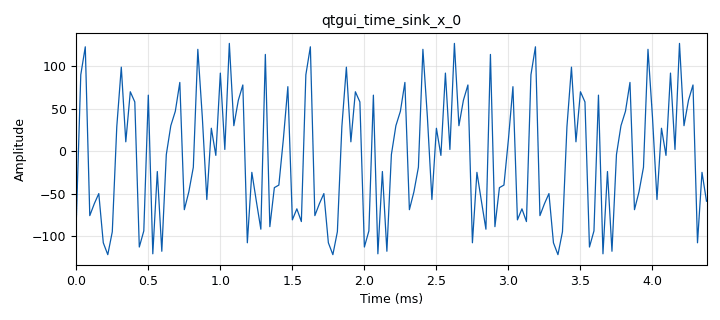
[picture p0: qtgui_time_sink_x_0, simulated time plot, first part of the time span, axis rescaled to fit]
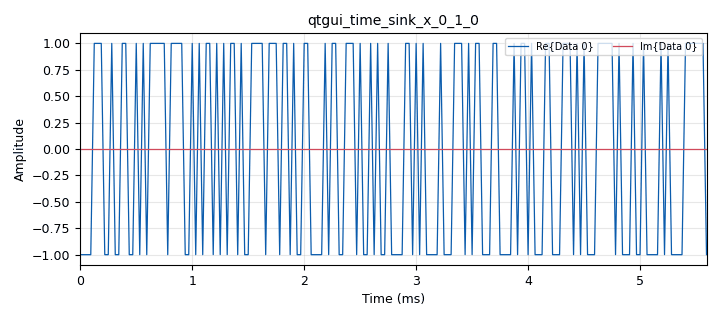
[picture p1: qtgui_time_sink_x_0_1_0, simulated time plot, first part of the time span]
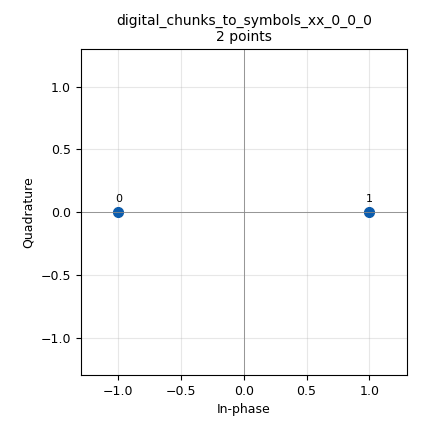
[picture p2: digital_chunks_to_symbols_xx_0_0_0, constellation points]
<?xml version='1.0' encoding='utf-8'?>
<?grc format='1' created='3.7.11'?>
<flow_graph>
<block>
<key>options</key>
<param><key>id</key><value>top_block</value></param>
<param><key>author</key><value>Aaron Scher</value></param>
<param><key>description</key><value>This example shows the basics of frame syncing. </value></param>
<param><key>generate_options</key><value>qt_gui</value></param>
<param><key>title</key><value>Frame Sync Example</value></param>
</block>
<block>
<key>variable</key>
<param><key>id</key><value>samp_rate</value></param>
<param><key>value</key><value>32000</value></param>
</block>
<block>
<key>analog_random_source_x</key>
<param><key>id</key><value>analog_random_source_x_0</value></param>
<param><key>max</key><value>256</value></param>
<param><key>min</key><value>0</value></param>
<param><key>num_samps</key><value>50</value></param>
<param><key>type</key><value>byte</value></param>
<param><key>repeat</key><value>True</value></param>
</block>
<block>
<key>blocks_char_to_float</key>
<param><key>id</key><value>blocks_char_to_float_0</value></param>
<param><key>scale</key><value>1</value></param>
</block>
<block>
<key>blocks_message_debug</key>
<param><key>id</key><value>blocks_message_debug_0</value></param>
<param><key>comment</key><value>Display the message that was sent.</value></param>
<param><key>_enabled</key><value>0</value></param>
</block>
<block>
<key>blocks_message_strobe</key>
<param><key>id</key><value>blocks_message_strobe_0_0</value></param>
<param><key>comment</key><value>Generate hello world message</value></param>
<param><key>_enabled</key><value>0</value></param>
<param><key>msg</key><value>pmt.cons(pmt.make_dict(), pmt.pmt_to_python.numpy_to_uvector(numpy.array([ord(c) for c in "Hello world!"], numpy.uint8)))</value></param>
<param><key>period</key><value>5000</value></param>
</block>
<block>
<key>blocks_pdu_to_tagged_stream</key>
<param><key>id</key><value>blocks_pdu_to_tagged_stream_1</value></param>
<param><key>_enabled</key><value>0</value></param>
<param><key>type</key><value>byte</value></param>
<param><key>tag</key><value>len_key</value></param>
</block>
<block>
<key>blocks_repack_bits_bb</key>
<param><key>id</key><value>blocks_repack_bits_bb_0_0</value></param>
<param><key>k</key><value>8</value></param>
<param><key>l</key><value>hdr_const.bits_per_symbol()</value></param>
<param><key>comment</key><value>Access code block up ahead needs 1 byte
per bit</value></param>
<param><key>endianness</key><value>gr.GR_MSB_FIRST</value></param>
<param><key>len_tag_key</key><value>len_key</value></param>
</block>
<block>
<key>blocks_repack_bits_bb</key>
<param><key>id</key><value>blocks_repack_bits_bb_0_0_0</value></param>
<param><key>k</key><value>1</value></param>
<param><key>l</key><value>8</value></param>
<param><key>comment</key><value>Tagged Stream to PDU block up ahead needs packed bytes</value></param>
<param><key>endianness</key><value>gr.GR_MSB_FIRST</value></param>
<param><key>len_tag_key</key><value>len_key2</value></param>
</block>
<block>
<key>blocks_stream_to_tagged_stream</key>
<param><key>id</key><value>blocks_stream_to_tagged_stream_0</value></param>
<param><key>len_tag_key</key><value>"len_key"</value></param>
<param><key>packet_len</key><value>8</value></param>
<param><key>type</key><value>byte</value></param>
</block>
<block>
<key>blocks_tag_gate</key>
<param><key>id</key><value>blocks_tag_gate_0_0</value></param>
<param><key>comment</key><value>Simulate the "channel'... removes tags</value></param>
<param><key>type</key><value>byte</value></param>
<param><key>propagate_tags</key><value>False</value></param>
</block>
<block>
<key>blocks_tagged_stream_mux</key>
<param><key>id</key><value>blocks_tagged_stream_mux_0</value></param>
<param><key>comment</key><value>Append header to payload</value></param>
<param><key>type</key><value>byte</value></param>
<param><key>lengthtagname</key><value>len_key</value></param>
<param><key>ninputs</key><value>2</value></param>
</block>
<block>
<key>blocks_tagged_stream_to_pdu</key>
<param><key>id</key><value>blocks_tagged_stream_to_pdu_0</value></param>
<param><key>_enabled</key><value>0</value></param>
<param><key>type</key><value>byte</value></param>
<param><key>tag</key><value>len_key2</value></param>
</block>
<block>
<key>blocks_throttle</key>
<param><key>id</key><value>blocks_throttle_0</value></param>
<param><key>comment</key><value>Slow things down :)</value></param>
<param><key>samples_per_second</key><value>samp_rate</value></param>
<param><key>type</key><value>byte</value></param>
</block>
<block>
<key>digital_chunks_to_symbols_xx</key>
<param><key>id</key><value>digital_chunks_to_symbols_xx_0_0_0</value></param>
<param><key>comment</key><value>To display in time domain we map individual 
bits to (complex) symbols</value></param>
<param><key>dimension</key><value>1</value></param>
<param><key>in_type</key><value>byte</value></param>
<param><key>out_type</key><value>complex</value></param>
<param><key>symbol_table</key><value>hdr_const.points()</value></param>
</block>
<block>
<key>digital_correlate_access_code_xx_ts</key>
<param><key>id</key><value>digital_correlate_access_code_xx_ts_1</value></param>
<param><key>access_code</key><value>digital.packet_utils.default_access_code</value></param>
<param><key>comment</key><value>Correlates with access code to extract the payload.</value></param>
<param><key>type</key><value>byte</value></param>
<param><key>tagname</key><value>len_key2</value></param>
<param><key>threshold</key><value>0</value></param>
</block>
<block>
<key>digital_protocol_formatter_bb</key>
<param><key>id</key><value>digital_protocol_formatter_bb_0</value></param>
<param><key>comment</key><value>Generate header</value></param>
<param><key>format</key><value>hdr_format</value></param>
<param><key>len_tag_key</key><value>len_key</value></param>
</block>
<block>
<key>parameter</key>
<param><key>id</key><value>hdr_const</value></param>
<param><key>label</key><value>Header constellation</value></param>
<param><key>value</key><value>digital.constellation_calcdist((digital.psk_2()[0]), (digital.psk_2()[1]), 2, 1).base()</value></param>
</block>
<block>
<key>parameter</key>
<param><key>id</key><value>hdr_format</value></param>
<param><key>label</key><value>Header Formatter</value></param>
<param><key>value</key><value>digital.header_format_default(digital.packet_utils.default_access_code, 0)</value></param>
</block>
<block>
<key>import</key>
<param><key>id</key><value>import_0</value></param>
<param><key>import</key><value>import numpy</value></param>
</block>
<block>
<key>qtgui_time_sink_x</key>
<param><key>id</key><value>qtgui_time_sink_x_0</value></param>
<param><key>color1</key><value>"blue"</value></param>
<param><key>label1</key><value></value></param>
<param><key>size</key><value>1024</value></param>
<param><key>srate</key><value>samp_rate</value></param>
<param><key>type</key><value>float</value></param>
</block>
<block>
<key>qtgui_time_sink_x</key>
<param><key>id</key><value>qtgui_time_sink_x_0_1_0</value></param>
<param><key>autoscale</key><value>True</value></param>
<param><key>comment</key><value>Display payloud in time domain</value></param>
<param><key>color1</key><value>"blue"</value></param>
<param><key>label1</key><value></value></param>
<param><key>color2</key><value>"red"</value></param>
<param><key>label2</key><value></value></param>
<param><key>size</key><value>1024</value></param>
<param><key>srate</key><value>samp_rate</value></param>
<param><key>type</key><value>complex</value></param>
</block>
<block>
<key>virtual_sink</key>
<param><key>id</key><value>virtual_sink_0</value></param>
<param><key>stream_id</key><value>input</value></param>
</block>
<block>
<key>virtual_sink</key>
<param><key>id</key><value>virtual_sink_1</value></param>
<param><key>stream_id</key><value>output</value></param>
</block>
<block>
<key>virtual_source</key>
<param><key>id</key><value>virtual_source_0</value></param>
<param><key>stream_id</key><value>input</value></param>
</block>
<block>
<key>virtual_source</key>
<param><key>id</key><value>virtual_source_1</value></param>
<param><key>stream_id</key><value>output</value></param>
</block>
<connection><source_block_id>analog_random_source_x_0</source_block_id><sink_block_id>blocks_stream_to_tagged_stream_0</sink_block_id><source_key>0</source_key><sink_key>0</sink_key></connection>
<connection><source_block_id>blocks_char_to_float_0</source_block_id><sink_block_id>qtgui_time_sink_x_0</sink_block_id><source_key>0</source_key><sink_key>0</sink_key></connection>
<connection><source_block_id>blocks_message_strobe_0_0</source_block_id><sink_block_id>blocks_pdu_to_tagged_stream_1</sink_block_id><source_key>strobe</source_key><sink_key>pdus</sink_key></connection>
<connection><source_block_id>blocks_pdu_to_tagged_stream_1</source_block_id><sink_block_id>blocks_tagged_stream_mux_0</sink_block_id><source_key>0</source_key><sink_key>1</sink_key></connection>
<connection><source_block_id>blocks_pdu_to_tagged_stream_1</source_block_id><sink_block_id>digital_protocol_formatter_bb_0</sink_block_id><source_key>0</source_key><sink_key>0</sink_key></connection>
<connection><source_block_id>blocks_repack_bits_bb_0_0</source_block_id><sink_block_id>blocks_tag_gate_0_0</sink_block_id><source_key>0</source_key><sink_key>0</sink_key></connection>
<connection><source_block_id>blocks_repack_bits_bb_0_0_0</source_block_id><sink_block_id>blocks_tagged_stream_to_pdu_0</sink_block_id><source_key>0</source_key><sink_key>0</sink_key></connection>
<connection><source_block_id>blocks_repack_bits_bb_0_0_0</source_block_id><sink_block_id>virtual_sink_1</sink_block_id><source_key>0</source_key><sink_key>0</sink_key></connection>
<connection><source_block_id>blocks_stream_to_tagged_stream_0</source_block_id><sink_block_id>virtual_sink_0</sink_block_id><source_key>0</source_key><sink_key>0</sink_key></connection>
<connection><source_block_id>blocks_tag_gate_0_0</source_block_id><sink_block_id>digital_correlate_access_code_xx_ts_1</sink_block_id><source_key>0</source_key><sink_key>0</sink_key></connection>
<connection><source_block_id>blocks_tagged_stream_mux_0</source_block_id><sink_block_id>blocks_throttle_0</sink_block_id><source_key>0</source_key><sink_key>0</sink_key></connection>
<connection><source_block_id>blocks_tagged_stream_to_pdu_0</source_block_id><sink_block_id>blocks_message_debug_0</sink_block_id><source_key>pdus</source_key><sink_key>print</sink_key></connection>
<connection><source_block_id>blocks_throttle_0</source_block_id><sink_block_id>blocks_repack_bits_bb_0_0</sink_block_id><source_key>0</source_key><sink_key>0</sink_key></connection>
<connection><source_block_id>digital_chunks_to_symbols_xx_0_0_0</source_block_id><sink_block_id>qtgui_time_sink_x_0_1_0</sink_block_id><source_key>0</source_key><sink_key>0</sink_key></connection>
<connection><source_block_id>digital_correlate_access_code_xx_ts_1</source_block_id><sink_block_id>blocks_repack_bits_bb_0_0_0</sink_block_id><source_key>0</source_key><sink_key>0</sink_key></connection>
<connection><source_block_id>digital_correlate_access_code_xx_ts_1</source_block_id><sink_block_id>digital_chunks_to_symbols_xx_0_0_0</sink_block_id><source_key>0</source_key><sink_key>0</sink_key></connection>
<connection><source_block_id>digital_protocol_formatter_bb_0</source_block_id><sink_block_id>blocks_tagged_stream_mux_0</sink_block_id><source_key>0</source_key><sink_key>0</sink_key></connection>
<connection><source_block_id>virtual_source_0</source_block_id><sink_block_id>blocks_tagged_stream_mux_0</sink_block_id><source_key>0</source_key><sink_key>1</sink_key></connection>
<connection><source_block_id>virtual_source_0</source_block_id><sink_block_id>digital_protocol_formatter_bb_0</sink_block_id><source_key>0</source_key><sink_key>0</sink_key></connection>
<connection><source_block_id>virtual_source_1</source_block_id><sink_block_id>blocks_char_to_float_0</sink_block_id><source_key>0</source_key><sink_key>0</sink_key></connection>
</flow_graph>
